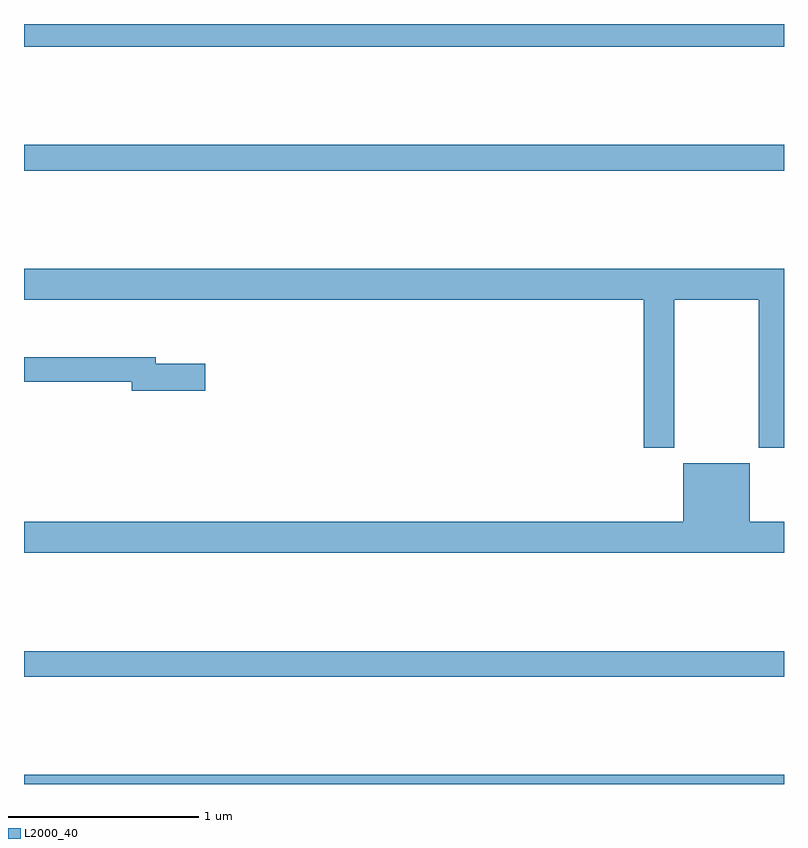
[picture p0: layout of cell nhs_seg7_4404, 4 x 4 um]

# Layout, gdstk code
import gdstk
lib = gdstk.Library(unit=1e-6, precision=1e-09)
def R(c, l, rs):  # rectangles x0, y0, x1, y1
    for r in rs: c.add(gdstk.rectangle(r[:2], r[2:], *l))
def P(c, l, *ps):  # polygons
    for p in ps: c.add(gdstk.Polygon(p, *l))
L2000_40 = (2000, 40)

nhs_seg7_4404 = lib.new_cell('nhs_seg7_4404')
R(nhs_seg7_4404, L2000_40, [(387,1066,391,1066.048), (387,1066.564,391,1066.7), (387,1069.228,391,1069.364), (387,1069.88,391,1070)])
P(nhs_seg7_4404, L2000_40, [(390.423,1068.548),(390.868,1068.548),(390.868,1067.769),(391,1067.769),(391,1068.712),(387,1068.712),(387,1068.548),(390.263,1068.548),(390.263,1067.769),(390.423,1067.769)],
  [(387.955,1068.213),(387.694,1068.213),(387.694,1068.247),(387,1068.247),(387,1068.118),(387.566,1068.118),(387.566,1068.071),(387.955,1068.071)],
  [(391,1067.38),(390.82,1067.38),(390.82,1067.689),(390.47,1067.689),(390.47,1067.38),(387,1067.38),(387,1067.216),(391,1067.216)])

lib.write_gds('nhs_seg7_4404.gds')
